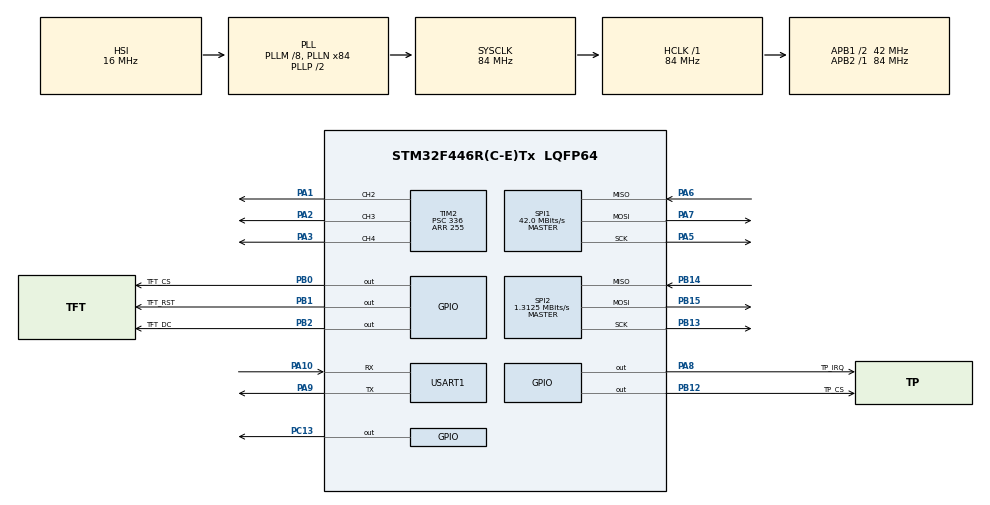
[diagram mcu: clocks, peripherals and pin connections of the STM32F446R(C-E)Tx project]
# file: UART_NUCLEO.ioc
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Dma.Request0=USART1_RX
Dma.Request1=SPI2_TX
Dma.SPI2_TX.1.Direction=DMA_MEMORY_TO_PERIPH
Dma.SPI2_TX.1.FIFOMode=DMA_FIFOMODE_DISABLE
Dma.SPI2_TX.1.Instance=DMA1_Stream4
Dma.SPI2_TX.1.MemDataAlignment=DMA_MDATAALIGN_BYTE
Dma.SPI2_TX.1.MemInc=DMA_MINC_ENABLE
Dma.SPI2_TX.1.Mode=DMA_NORMAL
Dma.SPI2_TX.1.PeriphDataAlignment=DMA_PDATAALIGN_BYTE
Dma.SPI2_TX.1.PeriphInc=DMA_PINC_DISABLE
Dma.SPI2_TX.1.Priority=DMA_PRIORITY_MEDIUM
Dma.USART1_RX.0.Direction=DMA_PERIPH_TO_MEMORY
Dma.USART1_RX.0.FIFOMode=DMA_FIFOMODE_DISABLE
Dma.USART1_RX.0.Instance=DMA2_Stream2
Dma.USART1_RX.0.MemDataAlignment=DMA_MDATAALIGN_BYTE
Dma.USART1_RX.0.MemInc=DMA_MINC_ENABLE
Dma.USART1_RX.0.Mode=DMA_CIRCULAR
Dma.USART1_RX.0.PeriphDataAlignment=DMA_PDATAALIGN_BYTE
Dma.USART1_RX.0.PeriphInc=DMA_PINC_DISABLE
Dma.USART1_RX.0.Priority=DMA_PRIORITY_HIGH
Mcu.Family=STM32F4
Mcu.Name=STM32F446R(C-E)Tx
Mcu.Package=LQFP64
NVIC.DMA1_Stream4_IRQn=true\:0\:0\:false\:false\:true\:false\:true\:true
NVIC.DMA2_Stream2_IRQn=true\:0\:0\:false\:false\:true\:false\:true\:true
NVIC.PriorityGroup=NVIC_PRIORITYGROUP_0
NVIC.USART1_IRQn=true\:0\:0\:false\:false\:true\:true\:true\:true
PA1.Signal=S_TIM2_CH2
PA10.Mode=Asynchronous
PA10.Signal=USART1_RX
PA13.GPIO_Label=TMS
PA13.Mode=Serial_Wire
PA13.Signal=SYS_JTMS-SWDIO
PA14.GPIO_Label=TCK
PA14.Mode=Serial_Wire
PA14.Signal=SYS_JTCK-SWCLK
PA2.Signal=S_TIM2_CH3
PA3.Signal=S_TIM2_CH4
PA5.Mode=Full_Duplex_Master
PA5.Signal=SPI1_SCK
PA6.Mode=Full_Duplex_Master
PA6.Signal=SPI1_MISO
PA7.Mode=Full_Duplex_Master
PA7.Signal=SPI1_MOSI
PA8.GPIO_Label=TP_IRQ
PA8.Signal=GPIO_Output
PA9.Mode=Asynchronous
PA9.Signal=USART1_TX
PB0.GPIO_Label=TFT_CS
PB0.Signal=GPIO_Output
PB1.GPIO_Label=TFT_RST
PB1.GPIO_Speed=GPIO_SPEED_FREQ_HIGH
PB1.PinState=GPIO_PIN_RESET
PB1.Signal=GPIO_Output
PB12.GPIO_Label=TP_CS
PB12.PinState=GPIO_PIN_SET
PB12.Signal=GPIO_Output
PB13.Mode=Full_Duplex_Master
PB13.Signal=SPI2_SCK
PB14.Mode=Full_Duplex_Master
PB14.Signal=SPI2_MISO
PB15.Mode=Full_Duplex_Master
PB15.Signal=SPI2_MOSI
PB2.GPIO_Label=TFT_DC
PB2.GPIO_Speed=GPIO_SPEED_FREQ_HIGH
PB2.Signal=GPIO_Output
PB3.GPIO_Label=SWO
PB3.Signal=SYS_JTDO-SWO
PC13.Signal=GPIO_Output
PC14-OSC32_IN.Mode=LSE-External-Oscillator
PC14-OSC32_IN.Signal=RCC_OSC32_IN
PC15-OSC32_OUT.Mode=LSE-External-Oscillator
PC15-OSC32_OUT.Signal=RCC_OSC32_OUT
PH0-OSC_IN.Mode=HSE-External-Oscillator
PH0-OSC_IN.Signal=RCC_OSC_IN
PH1-OSC_OUT.Mode=HSE-External-Oscillator
PH1-OSC_OUT.Signal=RCC_OSC_OUT
ProjectManager.HeapSize=0x200
ProjectManager.StackSize=0x400
ProjectManager.TargetToolchain=STM32CubeIDE
RCC.48MHZClocksFreq_Value=84000000
RCC.AHBFreq_Value=84000000
RCC.APB1CLKDivider=RCC_HCLK_DIV2
RCC.APB1Freq_Value=42000000
RCC.APB1TimFreq_Value=84000000
RCC.APB2Freq_Value=84000000
RCC.APB2TimFreq_Value=84000000
RCC.CortexFreq_Value=84000000
RCC.FLatency-AdvancedSettings=FLASH_LATENCY_2
RCC.HCLKFreq_Value=84000000
RCC.HSE_VALUE=8000000
RCC.HSI_VALUE=16000000
RCC.PLLM=8
RCC.PLLN=84
RCC.SYSCLKFreq_VALUE=84000000
RCC.SYSCLKSource=RCC_SYSCLKSOURCE_PLLCLK
RCC.USBFreq_Value=84000000
RCC.VCOOutputFreq_Value=168000000
SH.S_TIM2_CH2.0=TIM2_CH2,PWM Generation2 CH2
SH.S_TIM2_CH3.0=TIM2_CH3,PWM Generation3 CH3
SH.S_TIM2_CH4.0=TIM2_CH4,PWM Generation4 CH4
SPI1.CalculateBaudRate=42.0 MBits/s
SPI1.Direction=SPI_DIRECTION_2LINES
SPI1.Mode=SPI_MODE_MASTER
SPI1.VirtualType=VM_MASTER
SPI2.BaudRatePrescaler=SPI_BAUDRATEPRESCALER_32
SPI2.CalculateBaudRate=1.3125 MBits/s
SPI2.Direction=SPI_DIRECTION_2LINES
SPI2.Mode=SPI_MODE_MASTER
SPI2.VirtualType=VM_MASTER
TIM2.Channel-PWM\ Generation2\ CH2=TIM_CHANNEL_2
TIM2.Channel-PWM\ Generation3\ CH3=TIM_CHANNEL_3
TIM2.Channel-PWM\ Generation4\ CH4=TIM_CHANNEL_4
TIM2.Period=255
TIM2.Prescaler=336
USART1.VirtualMode=VM_ASYNC
VP_TIM2_VS_ClockSourceINT.Mode=Internal
board=NUCLEO-F446RE

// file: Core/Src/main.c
/* USER CODE BEGIN Header */
/**
  ******************************************************************************
  * @file           : main.c
  * @brief          : Main program body
  ******************************************************************************
  * @attention
  *
  * Copyright (c) 2024 STMicroelectronics.
  * All rights reserved.
  *
  * This software is licensed under terms that can be found in the LICENSE file
  * in the root directory of this software component.
  * If no LICENSE file comes with this software, it is provided AS-IS.
  *
  ******************************************************************************
  */
/* USER CODE END Header */
#include "main.h"

/* USER CODE BEGIN Includes */
#include <stdint.h>
#include "ILI9488.h"
#include "xpt2046.h"
#include "stdio.h"

#include "008_Open_Sans_Bold.h"
#include "009_Open_Sans_Bold.h"
#include "010_Open_Sans_Bold.h"
#include "012_Open_Sans_Bold.h"
#include "014_Open_Sans_Bold.h"
#include "016_Open_Sans_Bold.h"
#include "018_Open_Sans_Bold.h"
#include "020_Open_Sans_Bold.h"
#include "022_Open_Sans_Bold.h"
#include "024_Open_Sans_Bold.h"
#include "026_Open_Sans_Bold.h"
#include "028_Open_Sans_Bold.h"
#include "036_Open_Sans_Bold.h"
#include "048_Open_Sans_Bold.h"
#include "072_Open_Sans_Bold.h"
#include "096_Open_Sans_Bold.h"
#include "112_Open_Sans_Bold.h"
#include "128_Open_Sans_Bold.h"

#define _Open_Sans_Bold_8      &Open_Sans_Bold_8
#define _Open_Sans_Bold_9      &Open_Sans_Bold_9
#define _Open_Sans_Bold_10     &Open_Sans_Bold_10
#define _Open_Sans_Bold_11     &Open_Sans_Bold_11
#define _Open_Sans_Bold_12      &Open_Sans_Bold_12
#define _Open_Sans_Bold_14      &Open_Sans_Bold_14
#define _Open_Sans_Bold_16      &Open_Sans_Bold_16
#define _Open_Sans_Bold_18      &Open_Sans_Bold_18
#define _Open_Sans_Bold_20      &Open_Sans_Bold_20
#define _Open_Sans_Bold_22      &Open_Sans_Bold_22
#define _Open_Sans_Bold_24      &Open_Sans_Bold_24
#define _Open_Sans_Bold_26      &Open_Sans_Bold_26
#define _Open_Sans_Bold_28      &Open_Sans_Bold_28
#define _Open_Sans_Bold_36      &Open_Sans_Bold_36
#define _Open_Sans_Bold_48      &Open_Sans_Bold_48
#define _Open_Sans_Bold_72      &Open_Sans_Bold_72
#define _Open_Sans_Bold_96      &Open_Sans_Bold_96
#define _Open_Sans_Bold_112      &Open_Sans_Bold_112
#define _Open_Sans_Bold_128      &Open_Sans_Bold_128

volatile uint8_t SPI1_TX_completed_flag = 1;

char buf1[20];

#define RED2RED 0
#define GREEN2GREEN 1
#define BLUE2BLUE 2
#define BLUE2RED 3
#define GREEN2RED 4
#define RED2GREEN 5
#define BWHITE 6
//#define Aqua 7

#define BYELLOW 8

uint16_t AA[315]={315,314,313,312,311,310,309,308,307,306,305,304,303,302,301,300,299,298,297,296,
		295,294,293,292,291,290,289,288,287,286,285,284,283,282,281,280,279,278,277,276,275,274,
		273,272,271,270,269,268,267,266,265,264,263,262,261,260,259,258,257,256,255,254,253,252,
		251,250,249,248,247,246,245,244,243,242,241,240,239,238,237,236,235,234,233,232,231,230,
		229,228,227,226,225,224,223,222,221,220,219,218,217,216,215,214,213,212,211,210,209,208,
		207,206,205,204,203,202,201,200,199,198,197,196,195,194,193,192,191,190,189,188,187,186,
		185,184,183,182,181,180,179,178,177,176,175,174,173,172,171,170,169,168,167,166,165,164,
		163,162,161,160,159,158,157,156,155,154,153,152,151,150,149,148,147,146,145,144,143,142,
		141,140,139,138,137,136,135,134,133,132,131,130,129,128,127,126,125,124,123,122,121,120,
		119,118,117,116,115,114,113,112,111,110,109,108,107,106,105,104,103,102,101,100,99,98,97,
		96,95,94,93,92,91,90,89,88,87,86,85,84,83,82,81,80,79,78,77,76,75,74,73,72,71,70,69,68,67,
		66,65,64,63,62,61,60,59,58,57,56,55,54,53,52,51,50,49,48,47,46,45,44,43,42,41,40,39,38,37,
		36,35,34,33,32,31,30,29,28,27,26,25,24,23,22,21,20,19,18,17,16,15,14,13,12,11,10,9,8,7,6,5,
		4,3,2,1};

/* USER CODE END Includes */

SPI_HandleTypeDef hspi1;
SPI_HandleTypeDef hspi2;
DMA_HandleTypeDef hdma_spi2_tx;

TIM_HandleTypeDef htim2;

UART_HandleTypeDef huart1;
DMA_HandleTypeDef hdma_usart1_rx;

/* USER CODE BEGIN PV */
uint8_t RxBuffer[25];
uint8_t rxComplete=0;
uint8_t firstReception=1;
float depth;
float velocity;
float roll;
float pitch;
float yaw;

/* USER CODE END PV */

void SystemClock_Config(void);
static void MX_GPIO_Init(void);
static void MX_DMA_Init(void);
static void MX_USART1_UART_Init(void);
static void MX_SPI2_Init(void);
static void MX_SPI1_Init(void);
static void MX_TIM2_Init(void);

/* USER CODE BEGIN 0 */
void HAL_UART_RxCpltCallback(UART_HandleTypeDef *huart)
{
	rxComplete=1;
	firstReception=0;
}
void HAL_SPI_TxCpltCallback(SPI_HandleTypeDef *hspi)
{
	SPI1_TX_completed_flag = 1;
}
/* USER CODE END 0 */
/* USER CODE END 0 */

int main(void)
{

  /* MCU Configuration--------------------------------------------------------*/

  /* Reset of all peripherals, Initializes the Flash interface and the Systick. */
  HAL_Init();

  /* Configure the system clock */
  SystemClock_Config();

  /* Initialize all configured peripherals */
  MX_GPIO_Init();
  MX_DMA_Init();
  MX_USART1_UART_Init();
  MX_SPI2_Init();
  MX_SPI1_Init();
  MX_TIM2_Init();
  /* USER CODE BEGIN 2 */
  HAL_UART_Receive_DMA(&huart1,RxBuffer,25);
  HAL_Delay(1000);
  ILI9488_Init();

 //   HAL_Delay(1000);
    setRotation(1);

    ILI9341_Fill_Screen(WHITE);

    uint16_t touchx = 0, touchy = 0;

    	  	  ILI9341_Fill_Screen(GREEN);
    	  	  ILI9341_Fill_Screen(BLUE);
    	  	  ILI9341_Fill_Screen(RED);
    	  	  ILI9341_Fill_Screen(ILI9488_MAGENTA);
    	  	  ILI9341_Fill_Screen(ILI9488_YELLOW);
    	  	  ILI9341_Fill_Screen(ILI9488_WHITE);
    	  	  ILI9341_Fill_Screen(ILI9488_ORANGE);
    	  	  ILI9341_Fill_Screen(ILI9488_OLIVE);

    	  	  ILI9341_Fill_Screen(ILI9488_GREEN);LCD_Font(20, 100, "ISMAIL", _Open_Sans_Bold_112  , 1, WHITE);LCD_Font(10, 250, "STM32", _Open_Sans_Bold_112  , 1, WHITE);HAL_Delay(1000);
    	  	  ILI9341_Fill_Screen(ILI9488_BLUE);LCD_Font(20, 100, "ISMAIL", _Open_Sans_Bold_112  , 1, WHITE);LCD_Font(10, 250, "STM32", _Open_Sans_Bold_112  , 1, WHITE);HAL_Delay(1000);
    	  	  ILI9341_Fill_Screen(RED);LCD_Font(20, 100, "ISMAIL", _Open_Sans_Bold_112  , 1, WHITE);LCD_Font(10, 250, "STM32", _Open_Sans_Bold_112  , 1, WHITE);HAL_Delay(1000);
    	  	  ILI9341_Fill_Screen(ILI9488_MAGENTA);LCD_Font(20, 100, "ISMAIL", _Open_Sans_Bold_112  , 1, WHITE);LCD_Font(10, 250, "STM32", _Open_Sans_Bold_112  , 1, WHITE);HAL_Delay(1000);
    	  	  ILI9341_Fill_Screen(ILI9488_YELLOW);LCD_Font(20, 100, "ISMAIL", _Open_Sans_Bold_112  , 1, WHITE);LCD_Font(10, 250, "STM32", _Open_Sans_Bold_112  , 1, WHITE);HAL_Delay(1000);
    	  	  ILI9341_Fill_Screen(ILI9488_WHITE);LCD_Font(20, 100, "ISMAIL", _Open_Sans_Bold_112  , 1, ILI9488_BLUE);LCD_Font(10, 250, "STM32", _Open_Sans_Bold_112  , 1, ILI9488_BLUE);HAL_Delay(1000);
    	  	  ILI9341_Fill_Screen(ILI9488_ORANGE);LCD_Font(20, 100, "ISMAIL", _Open_Sans_Bold_112  , 1, WHITE);LCD_Font(10, 250, "STM32", _Open_Sans_Bold_112  , 1, WHITE);HAL_Delay(1000);
    	  	  ILI9341_Fill_Screen(ILI9488_OLIVE);LCD_Font(20, 100, "ISMAIL", _Open_Sans_Bold_112  , 1, WHITE);LCD_Font(10, 250, "STM32", _Open_Sans_Bold_112  , 1, WHITE);HAL_Delay(1000);

    	  	  ILI9341_Fill_Screen(GREEN);
    	  	  ILI9341_Fill_Screen(BLUE);
    	  	  ILI9341_Fill_Screen(RED);
    	  	  ILI9341_Fill_Screen(ILI9488_MAGENTA);
    	  	  ILI9341_Fill_Screen(ILI9488_YELLOW);
    	  	  ILI9341_Fill_Screen(ILI9488_WHITE);
    	  	  ILI9341_Fill_Screen(ILI9488_ORANGE);
    	  	  ILI9341_Fill_Screen(ILI9488_OLIVE);

    	  	  ILI9341_Fill_Screen(ILI9488_GREEN);LCD_Font(20, 100, "ISMAIL", _Open_Sans_Bold_112  , 1, WHITE);LCD_Font(10, 250, "STM32", _Open_Sans_Bold_112  , 1, WHITE);HAL_Delay(1000);
    	  	  ILI9341_Fill_Screen(ILI9488_BLUE);LCD_Font(20, 100, "ISMAIL", _Open_Sans_Bold_112  , 1, WHITE);LCD_Font(10, 250, "STM32", _Open_Sans_Bold_112  , 1, WHITE);HAL_Delay(1000);
    	  	  ILI9341_Fill_Screen(RED);LCD_Font(20, 100, "ISMAIL", _Open_Sans_Bold_112  , 1, WHITE);LCD_Font(10, 250, "STM32", _Open_Sans_Bold_112  , 1, WHITE);HAL_Delay(1000);
    	  	  ILI9341_Fill_Screen(ILI9488_MAGENTA);LCD_Font(20, 100, "ISMAIL", _Open_Sans_Bold_112  , 1, WHITE);LCD_Font(10, 250, "STM32", _Open_Sans_Bold_112  , 1, WHITE);HAL_Delay(1000);
    	  	  ILI9341_Fill_Screen(ILI9488_YELLOW);LCD_Font(20, 100, "ISMAIL", _Open_Sans_Bold_112  , 1, WHITE);LCD_Font(10, 250, "STM32", _Open_Sans_Bold_112  , 1, WHITE);HAL_Delay(1000);
    	  	  ILI9341_Fill_Screen(ILI9488_WHITE);LCD_Font(20, 100, "ISMAIL", _Open_Sans_Bold_112  , 1, ILI9488_BLUE);LCD_Font(10, 250, "STM32", _Open_Sans_Bold_112  , 1, ILI9488_BLUE);HAL_Delay(1000);
    	  	  ILI9341_Fill_Screen(ILI9488_ORANGE);LCD_Font(20, 100, "ISMAIL", _Open_Sans_Bold_112  , 1, WHITE);LCD_Font(10, 250, "STM32", _Open_Sans_Bold_112  , 1, WHITE);HAL_Delay(1000);
    	  	  ILI9341_Fill_Screen(ILI9488_OLIVE);LCD_Font(20, 100, "ISMAIL", _Open_Sans_Bold_112  , 1, WHITE);LCD_Font(10, 250, "STM32", _Open_Sans_Bold_112  , 1, WHITE);HAL_Delay(1000);

    	  //    CODE FOR TOUCH

    	  	  char buf[20],buf1[20];
    //	  	  LCD_Font(25, 25, buf1, _Open_Sans_Bold_24  , 1, WHITE);
    //	  	  touchX = getX();
    //	  	  touchY = getY();
    //	  	  sprintf(buf,"x=%3d y=%3d",touchX,touchY);
    //	  	  sprintf(buf1,"x=%3d y=%3d",touchX,touchY);
    //	  	  LCD_Font(25, 25, buf, _Open_Sans_Bold_24  , 1, BLACK);
    //	  	  fillRect(touchX, touchY,2,2, RED);
    	  	ILI9341_Fill_Screen(WHITE);

    LCD_Font(165, 25, "Slider 1", _Open_Sans_Bold_24, 1, BLACK);
    LCD_Font(165, 80, "Slider 2", _Open_Sans_Bold_24, 1, BLACK);
    LCD_Font(165, 145, "Slider 3", _Open_Sans_Bold_24, 1, BLACK);

    LCD_Rect_Round(165, 30, 280, 20, 5,1, BLUE);
    LCD_Rect_Round(165, 90, 280, 20, 5,1, RED);
    LCD_Rect_Round(165, 150, 280, 20, 5,1, BLACK);

    LCD_Rect_Round_Fill(165, 30, 140, 20, 5, BLUE);
    LCD_Rect_Round_Fill(165, 90, 70, 20, 5, RED);
    LCD_Rect_Round_Fill(165, 150, 210, 20, 5, GREEN);

    LCD_Rect_Round_Fill(190, 200, 100, 50, 5, GREEN_D);

    LCD_Rect_Round_Fill(315, 200, 100, 50, 5, GREEN_D);

    LCD_Font(200, 230, "LED ON", _Open_Sans_Bold_20, 1, WHITE);

    LCD_Font(320, 230, "LED OFF", _Open_Sans_Bold_20, 1, WHITE);

    LCD_Rect_Round_Fill(190, 260, 100, 50, 5, GREEN_D);

    LCD_Rect_Round_Fill(315, 260, 100, 50, 5, GREEN_D);

    LCD_Font(200, 290, "LED ON", _Open_Sans_Bold_20, 1, WHITE);

    LCD_Font(320, 290, "LED OFF", _Open_Sans_Bold_20, 1, WHITE);

    ringMeter1(500, 0, 1020, 25, 30, 60,15,YELLOW, RED2RED);
    ringMeter1(750, 0, 1020, 25, 180, 60,15,YELLOW, BLUE2BLUE);

 	  HAL_TIM_PWM_Start(&htim2, TIM_CHANNEL_2);
 	  HAL_TIM_PWM_Start(&htim2, TIM_CHANNEL_3);
 	  HAL_TIM_PWM_Start(&htim2, TIM_CHANNEL_4);

  /* USER CODE END 2 */

  /* Infinite loop */
  while (1)
  {

    /* USER CODE BEGIN 3 */

	  if(rxComplete==1)
	  {
		  int i;
		      for (i = 0; i < 25; i++) {
		          if (RxBuffer[i] == 'D' && i + 4 < 25) {

		              *((uint8_t*)&depth + 0) = RxBuffer[i + 1];
		              *((uint8_t*)&depth + 1) = RxBuffer[i + 2];
		              *((uint8_t*)&depth + 2) = RxBuffer[i + 3];
		              *((uint8_t*)&depth + 3) = RxBuffer[i + 4];

		          }
		          else if (RxBuffer[i] == 'R' && i + 4 < 25) {

		              *((uint8_t*)&roll + 0) = RxBuffer[i + 1];
		              *((uint8_t*)&roll + 1) = RxBuffer[i + 2];
		              *((uint8_t*)&roll + 2) = RxBuffer[i + 3];
		              *((uint8_t*)&roll + 3) = RxBuffer[i + 4];

		          }
		          else if (RxBuffer[i] == 'P' && i + 4 < 25) {

		              *((uint8_t*)&pitch + 0) = RxBuffer[i + 1];
		              *((uint8_t*)&pitch + 1) = RxBuffer[i + 2];
		              *((uint8_t*)&pitch + 2) = RxBuffer[i + 3];
		              *((uint8_t*)&pitch + 3) = RxBuffer[i + 4];

		          }

		          else if (RxBuffer[i] == 'V' && i + 4 < 25) {

					  *((uint8_t*)&velocity + 0) = RxBuffer[i + 1];
					  *((uint8_t*)&velocity + 1) = RxBuffer[i + 2];
					  *((uint8_t*)&velocity + 2) = RxBuffer[i + 3];
					  *((uint8_t*)&velocity + 3) = RxBuffer[i + 4];

		         		          }
		          else if (RxBuffer[i] == 'Y' && i + 4 < 25) {

		              *((uint8_t*)&yaw + 0) = RxBuffer[i + 1];
		              *((uint8_t*)&yaw + 1) = RxBuffer[i + 2];
		              *((uint8_t*)&yaw + 2) = RxBuffer[i + 3];
		              *((uint8_t*)&yaw + 3) = RxBuffer[i + 4];

		          }
		      }
	  }
	  rxComplete=0;

	  LCD_Font(0, 18, buf1, _Open_Sans_Bold_24  , 1, WHITE);
	 	  	  touchx = getX();
	 	  	  touchy = getY();
	 	  	  sprintf(buf,"x=%3d y=%3d",touchx,touchy);
	 	  	  sprintf(buf1,"x=%3d y=%3d",touchx,touchy);
	 	  	  LCD_Font(0, 18, buf, _Open_Sans_Bold_24  , 1, BLACK);

	 	  	  	if(touchx >=155 && touchx<=460 && touchy>=20 && touchy<=30)
	 	  		{

	 	  		   LCD_Rect_Round_Fill(165, 30, 280, 20, 5, WHITE);
	 	  		   LCD_Rect_Round(165, 30, 280, 20, 5,1, BLUE);
	 	  		   LCD_Rect_Round_Fill(165, 30, touchx-155, 20, 5, BLUE);

	 	  		 __HAL_TIM_SET_COMPARE(&htim2,TIM_CHANNEL_2, AA[touchx-150]);

	 	  		ringMeter1(touchx*2, 0, 1020, 25, 30, 60,15,YELLOW, RED2RED);

	 	  		}

	 	  	  	if(touchx >=155 && touchx<=460 && touchy>=80 && touchy<=100)
	 	  		{

	 	  		   LCD_Rect_Round_Fill(165, 90, 280, 20, 5, WHITE);
	 	  		   LCD_Rect_Round(165, 90, 280, 20, 5,1, RED);
	 	  		   LCD_Rect_Round_Fill(165, 90, touchx-155, 20, 5, RED);

	 	  		 __HAL_TIM_SET_COMPARE(&htim2,TIM_CHANNEL_3, AA[touchx-150]);

	 	  		ringMeter1(touchx*2, 0, 1020, 25, 180, 60,15,YELLOW, BLUE2BLUE);

	 	  		}

	 	  	  	if(touchx >=155 && touchx<=460 && touchy>=140 && touchy<=160)
	 	  		{

	 	  		   LCD_Rect_Round_Fill(165, 150, 280, 20, 5, WHITE);
	 	  		   LCD_Rect_Round(165, 150, 280, 20, 5,1, GREEN);
	 	  		   LCD_Rect_Round_Fill(165, 150, touchx-155, 20, 5, GREEN);

	 	  		 __HAL_TIM_SET_COMPARE(&htim2,TIM_CHANNEL_4, AA[touchx-150]);

	 	  		}

	 	  	  	if(touchx >=180 && touchx<=290 && touchy>=190 && touchy<=240)
	 	  		{
	 	  	  	HAL_GPIO_WritePin(GPIOC, GPIO_PIN_13, GPIO_PIN_RESET);
	 	  		}

	 	  	  	if(touchx >=180 && touchx<=290 && touchy>=250 && touchy<=295)
	 	  		{
	 	  	  	HAL_GPIO_WritePin(GPIOC, GPIO_PIN_13, GPIO_PIN_RESET);
	 	  		}

	 	  	  	if(touchx >=325 && touchx<=435 && touchy>=190 && touchy<=240)
	 	  		{
	 	  	  	HAL_GPIO_WritePin(GPIOC, GPIO_PIN_13, GPIO_PIN_SET);
	 	  		}

	 	  	  	if(touchx >=325 && touchx<=435 && touchy>=250 && touchy<=300)
	 	  		{
	 	  	  	HAL_GPIO_WritePin(GPIOC, GPIO_PIN_13, GPIO_PIN_SET);
	 	  		}

  }
  /* USER CODE END 3 */
}

void SystemClock_Config(void)
{
  RCC_OscInitTypeDef RCC_OscInitStruct = {0};
  RCC_ClkInitTypeDef RCC_ClkInitStruct = {0};

  /** Configure the main internal regulator output voltage
  */
  __HAL_RCC_PWR_CLK_ENABLE();
  __HAL_PWR_VOLTAGESCALING_CONFIG(PWR_REGULATOR_VOLTAGE_SCALE3);

  /** Initializes the RCC Oscillators according to the specified parameters
  * in the RCC_OscInitTypeDef structure.
  */
  RCC_OscInitStruct.OscillatorType = RCC_OSCILLATORTYPE_HSI;
  RCC_OscInitStruct.HSIState = RCC_HSI_ON;
  RCC_OscInitStruct.HSICalibrationValue = RCC_HSICALIBRATION_DEFAULT;
  RCC_OscInitStruct.PLL.PLLState = RCC_PLL_ON;
  RCC_OscInitStruct.PLL.PLLSource = RCC_PLLSOURCE_HSI;
  RCC_OscInitStruct.PLL.PLLM = 8;
  RCC_OscInitStruct.PLL.PLLN = 84;
  RCC_OscInitStruct.PLL.PLLP = RCC_PLLP_DIV2;
  RCC_OscInitStruct.PLL.PLLQ = 2;
  RCC_OscInitStruct.PLL.PLLR = 2;
  if (HAL_RCC_OscConfig(&RCC_OscInitStruct) != HAL_OK)
  {
    Error_Handler();
  }

  /** Initializes the CPU, AHB and APB buses clocks
  */
  RCC_ClkInitStruct.ClockType = RCC_CLOCKTYPE_HCLK|RCC_CLOCKTYPE_SYSCLK
                              |RCC_CLOCKTYPE_PCLK1|RCC_CLOCKTYPE_PCLK2;
  RCC_ClkInitStruct.SYSCLKSource = RCC_SYSCLKSOURCE_PLLCLK;
  RCC_ClkInitStruct.AHBCLKDivider = RCC_SYSCLK_DIV1;
  RCC_ClkInitStruct.APB1CLKDivider = RCC_HCLK_DIV2;
  RCC_ClkInitStruct.APB2CLKDivider = RCC_HCLK_DIV1;

  if (HAL_RCC_ClockConfig(&RCC_ClkInitStruct, FLASH_LATENCY_2) != HAL_OK)
  {
    Error_Handler();
  }
}

static void MX_SPI1_Init(void)
{

  /* SPI1 parameter configuration*/
  hspi1.Instance = SPI1;
  hspi1.Init.Mode = SPI_MODE_MASTER;
  hspi1.Init.Direction = SPI_DIRECTION_2LINES;
  hspi1.Init.DataSize = SPI_DATASIZE_8BIT;
  hspi1.Init.CLKPolarity = SPI_POLARITY_LOW;
  hspi1.Init.CLKPhase = SPI_PHASE_1EDGE;
  hspi1.Init.NSS = SPI_NSS_SOFT;
  hspi1.Init.BaudRatePrescaler = SPI_BAUDRATEPRESCALER_2;
  hspi1.Init.FirstBit = SPI_FIRSTBIT_MSB;
  hspi1.Init.TIMode = SPI_TIMODE_DISABLE;
  hspi1.Init.CRCCalculation = SPI_CRCCALCULATION_DISABLE;
  hspi1.Init.CRCPolynomial = 10;
  if (HAL_SPI_Init(&hspi1) != HAL_OK)
  {
    Error_Handler();
  }

}

static void MX_SPI2_Init(void)
{

  /* SPI2 parameter configuration*/
  hspi2.Instance = SPI2;
  hspi2.Init.Mode = SPI_MODE_MASTER;
  hspi2.Init.Direction = SPI_DIRECTION_2LINES;
  hspi2.Init.DataSize = SPI_DATASIZE_8BIT;
  hspi2.Init.CLKPolarity = SPI_POLARITY_LOW;
  hspi2.Init.CLKPhase = SPI_PHASE_1EDGE;
  hspi2.Init.NSS = SPI_NSS_SOFT;
  hspi2.Init.BaudRatePrescaler = SPI_BAUDRATEPRESCALER_32;
  hspi2.Init.FirstBit = SPI_FIRSTBIT_MSB;
  hspi2.Init.TIMode = SPI_TIMODE_DISABLE;
  hspi2.Init.CRCCalculation = SPI_CRCCALCULATION_DISABLE;
  hspi2.Init.CRCPolynomial = 10;
  if (HAL_SPI_Init(&hspi2) != HAL_OK)
  {
    Error_Handler();
  }

}

static void MX_TIM2_Init(void)
{

  TIM_ClockConfigTypeDef sClockSourceConfig = {0};
  TIM_MasterConfigTypeDef sMasterConfig = {0};
  TIM_OC_InitTypeDef sConfigOC = {0};

  htim2.Instance = TIM2;
  htim2.Init.Prescaler = 336;
  htim2.Init.CounterMode = TIM_COUNTERMODE_UP;
  htim2.Init.Period = 255;
  htim2.Init.ClockDivision = TIM_CLOCKDIVISION_DIV1;
  htim2.Init.AutoReloadPreload = TIM_AUTORELOAD_PRELOAD_DISABLE;
  if (HAL_TIM_Base_Init(&htim2) != HAL_OK)
  {
    Error_Handler();
  }
  sClockSourceConfig.ClockSource = TIM_CLOCKSOURCE_INTERNAL;
  if (HAL_TIM_ConfigClockSource(&htim2, &sClockSourceConfig) != HAL_OK)
  {
    Error_Handler();
  }
  if (HAL_TIM_PWM_Init(&htim2) != HAL_OK)
  {
    Error_Handler();
  }
  sMasterConfig.MasterOutputTrigger = TIM_TRGO_RESET;
  sMasterConfig.MasterSlaveMode = TIM_MASTERSLAVEMODE_DISABLE;
  if (HAL_TIMEx_MasterConfigSynchronization(&htim2, &sMasterConfig) != HAL_OK)
  {
    Error_Handler();
  }
  sConfigOC.OCMode = TIM_OCMODE_PWM1;
  sConfigOC.Pulse = 0;
  sConfigOC.OCPolarity = TIM_OCPOLARITY_HIGH;
  sConfigOC.OCFastMode = TIM_OCFAST_DISABLE;
  if (HAL_TIM_PWM_ConfigChannel(&htim2, &sConfigOC, TIM_CHANNEL_2) != HAL_OK)
  {
    Error_Handler();
  }
  if (HAL_TIM_PWM_ConfigChannel(&htim2, &sConfigOC, TIM_CHANNEL_3) != HAL_OK)
  {
    Error_Handler();
  }
  if (HAL_TIM_PWM_ConfigChannel(&htim2, &sConfigOC, TIM_CHANNEL_4) != HAL_OK)
  {
    Error_Handler();
  }
  HAL_TIM_MspPostInit(&htim2);

}

static void MX_USART1_UART_Init(void)
{

  huart1.Instance = USART1;
  huart1.Init.BaudRate = 115200;
  huart1.Init.WordLength = UART_WORDLENGTH_8B;
  huart1.Init.StopBits = UART_STOPBITS_1;
  huart1.Init.Parity = UART_PARITY_NONE;
  huart1.Init.Mode = UART_MODE_TX_RX;
  huart1.Init.HwFlowCtl = UART_HWCONTROL_NONE;
  huart1.Init.OverSampling = UART_OVERSAMPLING_16;
  if (HAL_UART_Init(&huart1) != HAL_OK)
  {
    Error_Handler();
  }

}

static void MX_DMA_Init(void)
{

  /* DMA controller clock enable */
  __HAL_RCC_DMA2_CLK_ENABLE();
  __HAL_RCC_DMA1_CLK_ENABLE();

  /* DMA interrupt init */
  /* DMA1_Stream4_IRQn interrupt configuration */
  HAL_NVIC_SetPriority(DMA1_Stream4_IRQn, 0, 0);
  HAL_NVIC_EnableIRQ(DMA1_Stream4_IRQn);
  /* DMA2_Stream2_IRQn interrupt configuration */
  HAL_NVIC_SetPriority(DMA2_Stream2_IRQn, 0, 0);
  HAL_NVIC_EnableIRQ(DMA2_Stream2_IRQn);

}

static void MX_GPIO_Init(void)
{
  GPIO_InitTypeDef GPIO_InitStruct = {0};

  /* GPIO Ports Clock Enable */
  __HAL_RCC_GPIOC_CLK_ENABLE();
  __HAL_RCC_GPIOH_CLK_ENABLE();
  __HAL_RCC_GPIOA_CLK_ENABLE();
  __HAL_RCC_GPIOB_CLK_ENABLE();

  /*Configure GPIO pin Output Level */
  HAL_GPIO_WritePin(GPIOC, GPIO_PIN_13, GPIO_PIN_RESET);

  /*Configure GPIO pin Output Level */
  HAL_GPIO_WritePin(GPIOB, TFT_CS_Pin|TFT_RST_Pin|TFT_DC_Pin, GPIO_PIN_RESET);

  /*Configure GPIO pin Output Level */
  HAL_GPIO_WritePin(TP_CS_GPIO_Port, TP_CS_Pin, GPIO_PIN_SET);

  /*Configure GPIO pin Output Level */
  HAL_GPIO_WritePin(TP_IRQ_GPIO_Port, TP_IRQ_Pin, GPIO_PIN_RESET);

  /*Configure GPIO pin : PC13 */
  GPIO_InitStruct.Pin = GPIO_PIN_13;
  GPIO_InitStruct.Mode = GPIO_MODE_OUTPUT_PP;
  GPIO_InitStruct.Pull = GPIO_NOPULL;
  GPIO_InitStruct.Speed = GPIO_SPEED_FREQ_LOW;
  HAL_GPIO_Init(GPIOC, &GPIO_InitStruct);

  /*Configure GPIO pins : TFT_CS_Pin TP_CS_Pin */
  GPIO_InitStruct.Pin = TFT_CS_Pin|TP_CS_Pin;
  GPIO_InitStruct.Mode = GPIO_MODE_OUTPUT_PP;
  GPIO_InitStruct.Pull = GPIO_NOPULL;
  GPIO_InitStruct.Speed = GPIO_SPEED_FREQ_LOW;
  HAL_GPIO_Init(GPIOB, &GPIO_InitStruct);

  /*Configure GPIO pins : TFT_RST_Pin TFT_DC_Pin */
  GPIO_InitStruct.Pin = TFT_RST_Pin|TFT_DC_Pin;
  GPIO_InitStruct.Mode = GPIO_MODE_OUTPUT_PP;
  GPIO_InitStruct.Pull = GPIO_NOPULL;
  GPIO_InitStruct.Speed = GPIO_SPEED_FREQ_HIGH;
  HAL_GPIO_Init(GPIOB, &GPIO_InitStruct);

  /*Configure GPIO pin : TP_IRQ_Pin */
  GPIO_InitStruct.Pin = TP_IRQ_Pin;
  GPIO_InitStruct.Mode = GPIO_MODE_OUTPUT_PP;
  GPIO_InitStruct.Pull = GPIO_NOPULL;
  GPIO_InitStruct.Speed = GPIO_SPEED_FREQ_LOW;
  HAL_GPIO_Init(TP_IRQ_GPIO_Port, &GPIO_InitStruct);

}

void Error_Handler(void)
{
  __disable_irq();
  while (1)
  {
  }
}
